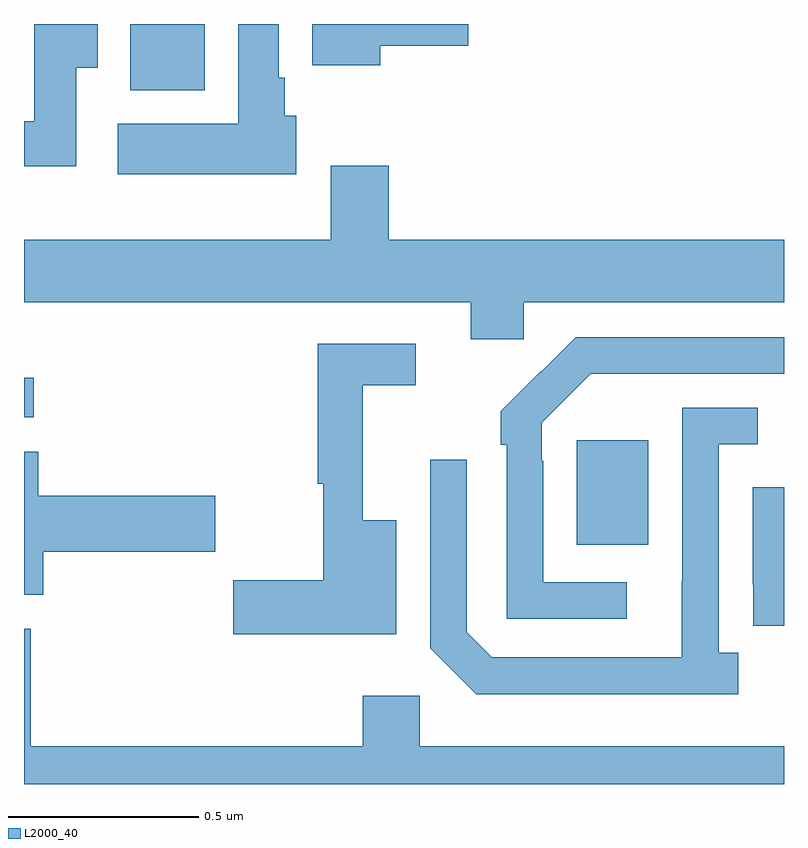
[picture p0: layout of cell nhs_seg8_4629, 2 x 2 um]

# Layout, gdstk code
import gdstk
lib = gdstk.Library(unit=1e-6, precision=1e-09)
def R(c, l, rs):  # rectangles x0, y0, x1, y1
    for r in rs: c.add(gdstk.rectangle(r[:2], r[2:], *l))
def P(c, l, *ps):  # polygons
    for p in ps: c.add(gdstk.Polygon(p, *l))
L2000_40 = (2000, 40)

nhs_seg8_4629 = lib.new_cell('nhs_seg8_4629')
R(nhs_seg8_4629, L2000_40, [(174.455,1114.529,174.643,1114.804), (173,1114.865,173.026,1114.969), (173.279,1115.726,173.476,1115.9)])
P(nhs_seg8_4629, L2000_40, [(173.137,1115.785),(173.194,1115.785),(173.194,1115.9),(173.027,1115.9),(173.027,1115.644),(173,1115.644),(173,1115.526),(173.137,1115.526)],
  [(173.716,1115.658),(173.686,1115.658),(173.686,1115.758),(173.671,1115.758),(173.671,1115.9),(173.564,1115.9),(173.564,1115.638),(173.247,1115.638),(173.247,1115.504),(173.716,1115.504)],
  [(173.938,1115.843),(174.169,1115.843),(174.169,1115.9),(173.759,1115.9),(173.759,1115.792),(173.938,1115.792)],
  [(174.315,1115.168),(175,1115.168),(175,1115.332),(173.96,1115.332),(173.96,1115.527),(173.807,1115.527),(173.807,1115.332),(173,1115.332),(173,1115.168),(174.176,1115.168),(174.176,1115.07),(174.315,1115.07)],
  [(174.586,1114.431),(174.366,1114.431),(174.366,1114.751),(174.363,1114.751),(174.363,1114.851),(174.492,1114.98),(175,1114.98),(175,1115.076),(174.452,1115.076),(174.361,1114.985),(174.36,1114.986),(174.255,1114.881),(174.255,1114.793),(174.27,1114.793),(174.27,1114.335),(174.586,1114.335)],
  [(173.98,1114.594),(173.891,1114.594),(173.891,1114.95),(174.031,1114.95),(174.031,1115.058),(173.773,1115.058),(173.773,1114.69),(173.788,1114.69),(173.788,1114.436),(173.55,1114.436),(173.55,1114.294),(173.98,1114.294)],
  [(174.88,1114.246),(174.828,1114.246),(174.828,1114.794),(174.931,1114.794),(174.931,1114.89),(174.732,1114.89),(174.732,1114.433),(174.731,1114.433),(174.731,1114.233),(174.231,1114.233),(174.165,1114.299),(174.165,1114.753),(174.069,1114.753),(174.069,1114.257),(174.19,1114.136),(174.88,1114.136)],
  [(173.051,1114.511),(173.503,1114.511),(173.503,1114.658),(173.038,1114.658),(173.038,1114.774),(173,1114.774),(173,1114.398),(173.051,1114.398)],
  [(175,1114.681),(174.918,1114.681),(174.918,1114.426),(174.919,1114.426),(174.919,1114.317),(175,1114.317)],
  [(175,1114),(174.042,1114),(174.042,1114.132),(173.891,1114.132),(173.891,1114),(173.018,1114),(173.018,1114.309),(173,1114.309),(173,1113.9),(175,1113.9)])

lib.write_gds('nhs_seg8_4629.gds')
